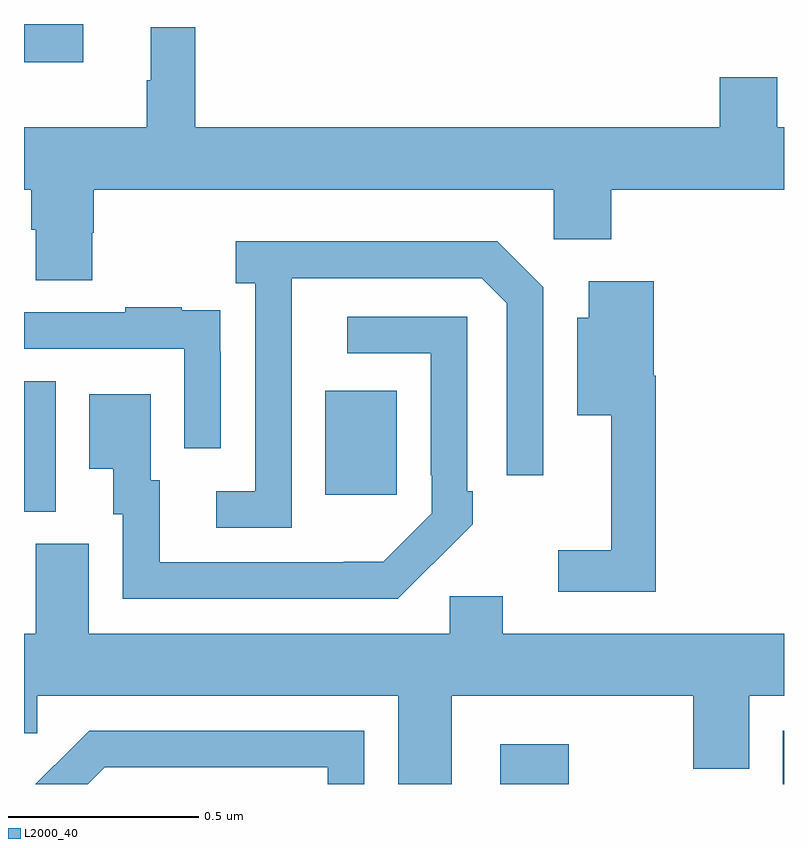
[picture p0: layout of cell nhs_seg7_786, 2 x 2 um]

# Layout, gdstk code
import gdstk
lib = gdstk.Library(unit=1e-6, precision=1e-09)
def R(c, l, rs):  # rectangles x0, y0, x1, y1
    for r in rs: c.add(gdstk.rectangle(r[:2], r[2:], *l))
def P(c, l, *ps):  # polygons
    for p in ps: c.add(gdstk.Polygon(p, *l))
L2000_40 = (2000, 40)

nhs_seg7_786 = lib.new_cell('nhs_seg7_786')
R(nhs_seg7_786, L2000_40, [(122.253,1051,122.434,1051.105), (122.997,1051,123,1051.14), (121,1051.717,121.084,1052.06), (121.793,1051.761,121.981,1052.035), (121,1052.9,121.156,1053)])
P(nhs_seg7_786, L2000_40, [(121.179,1052.451),(121.184,1052.451),(121.184,1052.564),(122.394,1052.564),(122.394,1052.433),(122.546,1052.433),(122.546,1052.564),(123,1052.564),(123,1052.728),(122.982,1052.728),(122.982,1052.86),(122.831,1052.86),(122.831,1052.728),(121.451,1052.728),(121.451,1052.992),(121.334,1052.992),(121.334,1052.852),(121.323,1052.852),(121.323,1052.728),(121,1052.728),(121,1052.564),(121.019,1052.564),(121.019,1052.458),(121.031,1052.458),(121.031,1052.326),(121.179,1052.326)],
  [(121.704,1052.131),(121.705,1052.131),(121.705,1052.331),(122.205,1052.331),(122.271,1052.265),(122.271,1051.812),(122.367,1051.812),(122.367,1052.307),(122.246,1052.428),(121.557,1052.428),(121.557,1052.318),(121.608,1052.318),(121.608,1051.77),(121.506,1051.77),(121.506,1051.674),(121.704,1051.674)],
  [(122.663,1052.074),(122.657,1052.074),(122.657,1052.323),(122.486,1052.323),(122.486,1052.227),(122.456,1052.227),(122.456,1051.97),(122.546,1051.97),(122.546,1051.615),(122.406,1051.615),(122.406,1051.506),(122.663,1051.506)],
  [(121.518,1052.138),(121.517,1052.138),(121.517,1052.247),(121.415,1052.247),(121.415,1052.254),(121.267,1052.254),(121.267,1052.241),(121,1052.241),(121,1052.145),(121.422,1052.145),(121.422,1051.884),(121.518,1051.884)],
  [(122.075,1051.579),(122.076,1051.578),(122.181,1051.683),(122.181,1051.771),(122.166,1051.771),(122.166,1052.229),(121.851,1052.229),(121.851,1052.133),(122.07,1052.133),(122.07,1051.813),(122.073,1051.813),(122.073,1051.713),(121.945,1051.585),(121.841,1051.585),(121.841,1051.584),(121.357,1051.584),(121.357,1051.8),(121.333,1051.8),(121.333,1052.026),(121.172,1052.026),(121.172,1051.829),(121.235,1051.829),(121.235,1051.71),(121.26,1051.71),(121.26,1051.488),(121.984,1051.488)],
  [(122.125,1051.232),(122.761,1051.232),(122.761,1051.04),(122.908,1051.04),(122.908,1051.232),(123,1051.232),(123,1051.396),(122.26,1051.396),(122.26,1051.494),(122.121,1051.494),(122.121,1051.396),(121.171,1051.396),(121.171,1051.632),(121.031,1051.632),(121.031,1051.396),(121,1051.396),(121,1051.134),(121.035,1051.134),(121.035,1051.232),(121.985,1051.232),(121.985,1051),(122.125,1051)],
  [(121.212,1051.044),(121.799,1051.044),(121.799,1051),(121.896,1051),(121.896,1051.14),(121.172,1051.14),(121.081,1051.049),(121.08,1051.05),(121.03,1051),(121.168,1051)])

lib.write_gds('nhs_seg7_786.gds')
